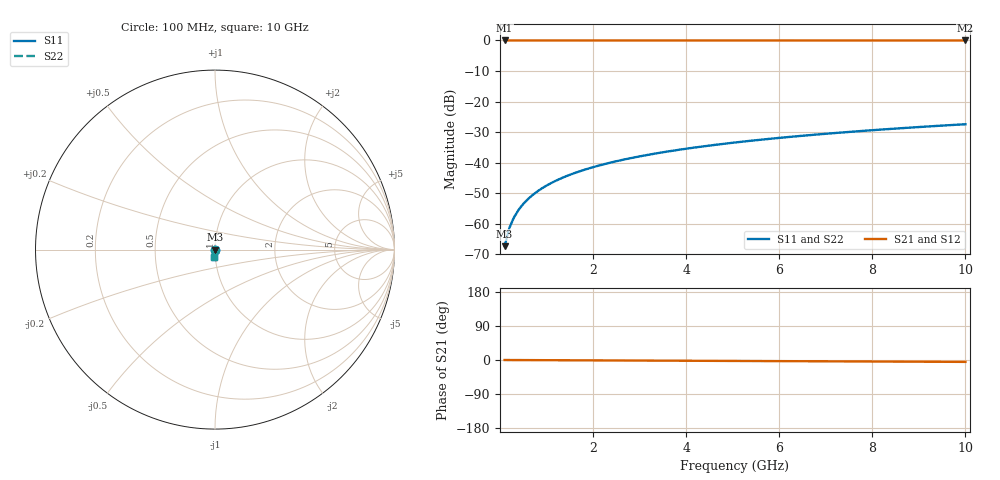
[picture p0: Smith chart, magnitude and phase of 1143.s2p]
# Hz S RI R 50.00
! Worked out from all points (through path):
!   100 points, 100 MHz to 10 GHz, reference 50 ohm
!   highest |S21| = 0.00 dB at 100 MHz (marker M1); lowest = 0.0 dB at 10 GHz (marker M2)
!   lowest |S11| = -67.4 dB at 100 MHz (marker M3), VSWR 1.00, Z = 50 - j0.0419 ohm
!   |S11| at or under -10 dB: start of sweep to end of sweep
!   |S22| runs from -67.4 to -27.4 dB; largest |S21 - S12| = 0
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1e8  8.28e-05 -0.000419  0.9999 -0.000859  0.9999 -0.000859  8.28e-05 -0.000419
2e8  8.17e-05 -0.000839  0.9999 -0.00172  0.9999 -0.00172  8.17e-05 -0.000839
3e8  7.97e-05 -0.00126  0.9999 -0.00258  0.9999 -0.00258  7.97e-05 -0.00126
4e8  7.69e-05 -0.00168  0.9999 -0.00344  0.9999 -0.00344  7.69e-05 -0.00168
5e8  7.33e-05 -0.0021  0.9999 -0.0043  0.9999 -0.0043  7.33e-05 -0.0021
6e8  6.9e-05 -0.00252  0.9999 -0.00516  0.9999 -0.00516  6.9e-05 -0.00252
7e8  6.39e-05 -0.00294  0.9999 -0.00602  0.9999 -0.00602  6.39e-05 -0.00294
8e8  5.81e-05 -0.00336  0.9999 -0.00688  0.9999 -0.00688  5.81e-05 -0.00336
9e8  5.16e-05 -0.00378  0.9999 -0.00774  0.9999 -0.00774  5.16e-05 -0.00378
1.1e9  3.63e-05 -0.00462  0.9999 -0.00946  0.9999 -0.00946  3.63e-05 -0.00462
1.4e9  7.86e-06 -0.00588  0.9998 -0.012  0.9998 -0.012  7.86e-06 -0.00588
1.8e9  -4.03e-05 -0.00756  0.9998 -0.0155  0.9998 -0.0155  -4.03e-05 -0.00756
2.1e9  -8.41e-05 -0.00882  0.9997 -0.0181  0.9997 -0.0181  -8.41e-05 -0.00882
2.5e9  -0.000153 -0.0105  0.9996 -0.0215  0.9996 -0.0215  -0.000153 -0.0105
2.9e9  -0.000233 -0.0122  0.9995 -0.025  0.9995 -0.025  -0.000233 -0.0122
3.4e9  -0.000351 -0.0143  0.9994 -0.0293  0.9994 -0.0293  -0.000351 -0.0143
4.2e9  -0.000577 -0.0177  0.9991 -0.0362  0.9991 -0.0362  -0.000577 -0.0177
5.1e9  -0.000888 -0.0215  0.9987 -0.044  0.9987 -0.044  -0.000888 -0.0215
5.9e9  -0.00122 -0.0249  0.9983 -0.051  0.9983 -0.051  -0.00122 -0.0249
6.7e9  -0.00159 -0.0283  0.9978 -0.058  0.9978 -0.058  -0.00159 -0.0283
8.4e9  -0.00255 -0.0355  0.9966 -0.0728  0.9966 -0.0728  -0.00255 -0.0355
1e10  -0.00366 -0.0423  0.9952 -0.0868  0.9952 -0.0868  -0.00366 -0.0423
